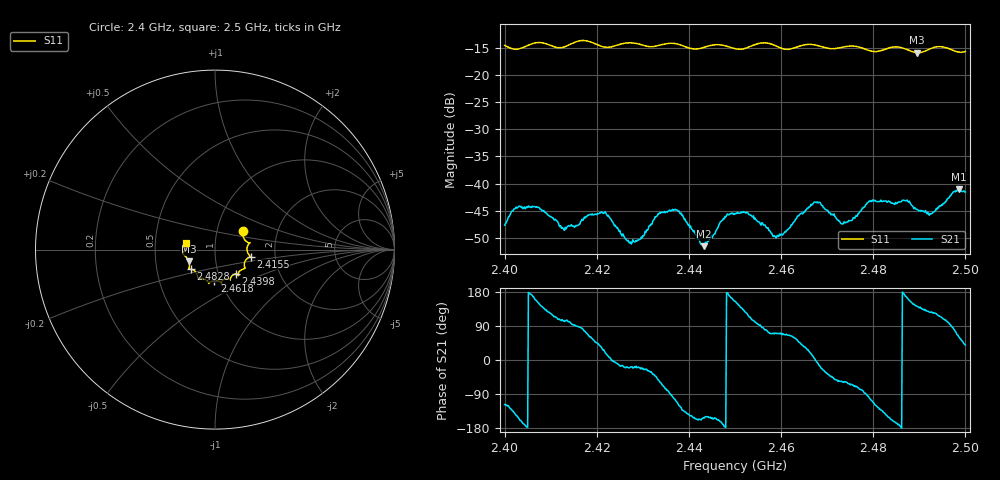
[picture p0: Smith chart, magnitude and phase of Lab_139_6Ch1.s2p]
# Hz S RI R 50
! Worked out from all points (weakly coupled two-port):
!   601 points, 2.4 GHz to 2.5 GHz, reference 50 ohm
!   highest |S21| = -41.02 dB at 2.4987 GHz (marker M1); lowest = -51.5 dB at 2.4432 GHz (marker M2)
!   lowest |S11| = -15.9 dB at 2.4895 GHz (marker M3), VSWR 1.38, Z = 37 - j5.03 ohm
!   |S11| at or under -10 dB: start of sweep to end of sweep
!   S12 and S22 are empty: the file has one direction only
!   S11 on the Smith chart (normalised r, x): 2.4 GHz: 1.33, +0.29; 2.4155 GHz: 1.49, -0.12; 2.4398 GHz: 1.21, -0.34; 2.4618 GHz: 0.94, -0.33; 2.4828 GHz: 0.74, -0.17; 2.5 GHz: 0.72, +0.06
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2.4e9  0.1547 0.1054  -0.00192 -0.00368  0 0  0 0
2.4025e9  0.1594 0.0652  -0.00505 -0.0034  0 0  0 0
2.4065e9  0.1932 0.0377  -0.00581 0.00199  0 0  0 0
2.4155e9  0.1981 -0.0394  2.03e-05 0.00412  0 0  0 0
2.416667e9  0.2029 -0.0428  0.000449 0.00452  0 0  0 0
2.4215e9  0.1712 -0.0589  0.00473 0.00243  0 0  0 0
2.4275e9  0.1679 -0.1044  0.00264 -0.000862  0 0  0 0
2.433333e9  0.1297 -0.1338  0.00322 -0.0042  0 0  0 0
2.437333e9  0.1308 -0.1427  -0.002 -0.00537  0 0  0 0
2.439833e9  0.1151 -0.1358  -0.00331 -0.00251  0 0  0 0
2.443167e9  0.0877 -0.1562  -0.00235 -0.00124  0 0  0 0
2.45e9  0.0656 -0.162  -0.00481 0.00225  0 0  0 0
2.458667e9  0.0331 -0.184  0.00107 0.0031  0 0  0 0
2.461833e9  -0.00362 -0.1727  0.00162 0.00356  0 0  0 0
2.466667e9  -0.0351 -0.1879  0.00614 0.00154  0 0  0 0
2.4735e9  -0.0852 -0.1596  0.0022 -0.00367  0 0  0 0
2.482833e9  -0.136 -0.109  -0.00572 -0.00392  0 0  0 0
2.483333e9  -0.1398 -0.1087  -0.00605 -0.00337  0 0  0 0
2.4895e9  -0.1459 -0.0663  -0.00457 0.00355  0 0  0 0
2.492667e9  -0.1738 -0.0293  -0.0032 0.00423  0 0  0 0
2.498667e9  -0.1614 0.0154  0.00447 0.00768  0 0  0 0
2.5e9  -0.16 0.0391  0.00647 0.00532  0 0  0 0
